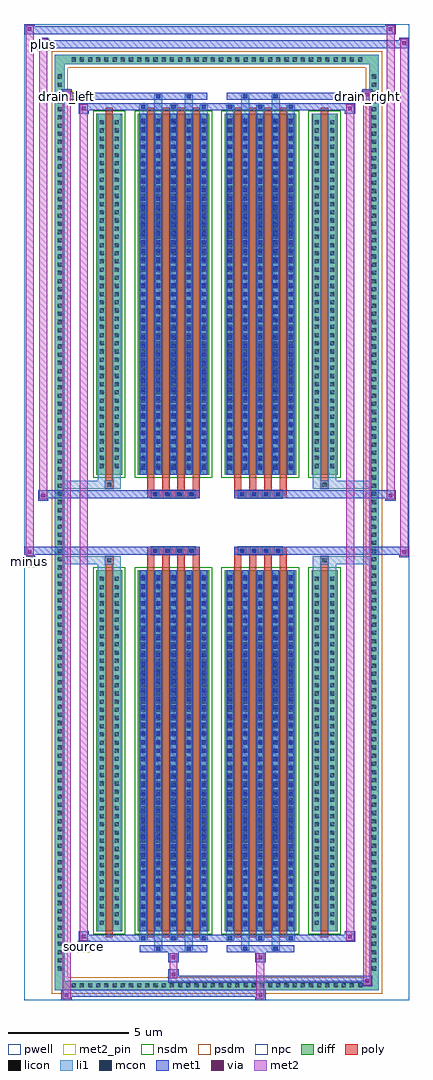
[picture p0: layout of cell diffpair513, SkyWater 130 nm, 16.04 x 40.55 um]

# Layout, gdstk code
import gdstk
lib = gdstk.Library(unit=1e-6, precision=5e-09)
def R(c, l, rs):  # rectangles x0, y0, x1, y1
    for r in rs: c.add(gdstk.rectangle(r[:2], r[2:], *l))
def A(c, l, x, y, w, h, nx, ny, dx, dy):  # array of equal rectangles
    R(c, l, [(x+i*dx, y+j*dy, x+i*dx+w, y+j*dy+h) for i in range(nx) for j in range(ny)])
def P(c, l, *ps):  # polygons
    for p in ps: c.add(gdstk.Polygon(p, *l))
pwell = (64, 44)
diff = (65, 20)
poly = (66, 20)
licon = (66, 44)
li1 = (67, 20)
mcon = (67, 44)
met1 = (68, 20)
via = (68, 44)
met2_pin = (69, 16)
met2 = (69, 20)
nsdm = (93, 44)
psdm = (94, 20)
npc = (95, 20)

diffpair513 = lib.new_cell('diffpair513')
R(diffpair513, pwell, [(-8,-19.84,8,20.71), (-5.32,-18.03,-0.01,-0.805), (0.01,-18.03,5.32,-0.805), (-5.32,0.805,-0.01,18.03), (0.01,0.805,5.32,18.03)])
A(diffpair513, diff, -6.155, -19.44, 0.41, 0.41, 36, 2, 0.34, 38.47)
A(diffpair513, diff, -6.73, -18.735, 0.41, 0.41, 1, 110, 0, 0.34)
A(diffpair513, diff, 6.32, -18.735, 0.41, 0.41, 1, 110, 0, 0.34)
R(diffpair513, diff, [(-6.155,-19.44,6.155,-19.03), (-6.73,-18.735,-6.32,18.735), (6.32,-18.735,6.73,18.735), (-5.01,-16.985,-3.93,-1.985), (-3.29,-16.985,-0.32,-1.985), (0.32,-16.985,3.29,-1.985), (3.93,-16.985,5.01,-1.985), (-5.01,1.985,-3.93,16.985), (-3.29,1.985,-0.32,16.985), (0.32,1.985,3.29,16.985), (3.93,1.985,5.01,16.985), (-6.155,19.03,6.155,19.44)])
P(diffpair513, diff, [(6.73,19.44),(-6.73,19.44),(-6.73,-19.03),(-6.32,-19.03),(-6.32,19.03),(6.32,19.03),(6.32,-19.03),(-6.32,-19.03),(-6.73,-19.03),(-6.73,-19.44),(6.73,-19.44)])
A(diffpair513, poly, -2.9, -17.235, 0.3, 15.5, 4, 2, 0.63, 18.97)
A(diffpair513, poly, 0.71, -17.235, 0.3, 15.5, 4, 2, 0.63, 18.97)
A(diffpair513, poly, -2.9, -1.735, 0.3, 0.4, 4, 2, 0.63, 3.07)
A(diffpair513, poly, 0.71, -1.735, 0.3, 0.4, 4, 2, 0.63, 3.07)
A(diffpair513, poly, -2.72, -1.335, 0.33, 0.33, 4, 2, 0.5, 2.34)
A(diffpair513, poly, 0.89, -1.335, 0.33, 0.33, 4, 2, 0.5, 2.34)
R(diffpair513, poly, [(-4.62,-17.235,-4.32,-1.735), (4.32,-17.235,4.62,-1.735), (-4.635,-1.735,-4.305,-1.405), (-4.635,-1.735,-4.305,-1.405), (4.305,-1.735,4.635,-1.405), (4.305,-1.735,4.635,-1.405), (-2.9,-1.335,-0.71,-1.005), (0.71,-1.335,2.9,-1.005), (-2.9,1.005,-0.71,1.335), (0.71,1.005,2.9,1.335), (-4.635,1.405,-4.305,1.735), (-4.635,1.405,-4.305,1.735), (4.305,1.405,4.635,1.735), (4.305,1.405,4.635,1.735), (-4.62,1.735,-4.32,17.235), (4.32,1.735,4.62,17.235)])
A(diffpair513, licon, -6.035, -19.32, 0.17, 0.17, 36, 2, 0.34, 38.47)
A(diffpair513, licon, -6.61, -18.615, 0.17, 0.17, 1, 110, 0, 0.34)
A(diffpair513, licon, 6.44, -18.615, 0.17, 0.17, 1, 110, 0, 0.34)
A(diffpair513, licon, -4.87, -16.71, 0.17, 0.17, 1, 43, 0, 0.34)
A(diffpair513, licon, -4.24, -16.71, 0.17, 0.17, 1, 43, 0, 0.34)
A(diffpair513, licon, -3.15, -16.71, 0.17, 0.17, 5, 43, 0.63, 0.34)
A(diffpair513, licon, 0.46, -16.71, 0.17, 0.17, 5, 43, 0.63, 0.34)
A(diffpair513, licon, 4.07, -16.71, 0.17, 0.17, 1, 43, 0, 0.34)
A(diffpair513, licon, 4.7, -16.71, 0.17, 0.17, 1, 43, 0, 0.34)
A(diffpair513, licon, -2.64, -1.255, 0.17, 0.17, 4, 2, 0.5, 2.34)
A(diffpair513, licon, 0.97, -1.255, 0.17, 0.17, 4, 2, 0.5, 2.34)
A(diffpair513, licon, -4.87, 2.26, 0.17, 0.17, 1, 43, 0, 0.34)
A(diffpair513, licon, -4.24, 2.26, 0.17, 0.17, 1, 43, 0, 0.34)
A(diffpair513, licon, -3.15, 2.26, 0.17, 0.17, 5, 43, 0.63, 0.34)
A(diffpair513, licon, 0.46, 2.26, 0.17, 0.17, 5, 43, 0.63, 0.34)
A(diffpair513, licon, 4.07, 2.26, 0.17, 0.17, 1, 43, 0, 0.34)
A(diffpair513, licon, 4.7, 2.26, 0.17, 0.17, 1, 43, 0, 0.34)
R(diffpair513, licon, [(-4.555,-1.655,-4.385,-1.485), (4.385,-1.655,4.555,-1.485), (-4.555,1.485,-4.385,1.655), (4.385,1.485,4.555,1.655)])
A(diffpair513, li1, -6.115, -19.4, 0.33, 0.33, 36, 2, 0.34, 38.47)
A(diffpair513, li1, -6.69, -18.695, 0.33, 0.33, 1, 110, 0, 0.34)
A(diffpair513, li1, 6.36, -18.695, 0.33, 0.33, 1, 110, 0, 0.34)
A(diffpair513, li1, -3.23, -17.36, 0.33, 0.375, 3, 2, 1.26, 34.345)
A(diffpair513, li1, -3.15, -17.36, 0.17, 0.17, 3, 2, 1.26, 34.55)
A(diffpair513, li1, 0.38, -17.36, 0.33, 0.375, 3, 2, 1.26, 34.345)
A(diffpair513, li1, 0.46, -17.36, 0.17, 0.17, 3, 2, 1.26, 34.55)
A(diffpair513, li1, -3.23, -16.985, 0.33, 15, 5, 2, 0.63, 18.97)
A(diffpair513, li1, 0.38, -16.985, 0.33, 15, 5, 2, 0.63, 18.97)
A(diffpair513, li1, -4.95, -16.79, 0.33, 0.33, 1, 43, 0, 0.34)
A(diffpair513, li1, -4.32, -16.79, 0.33, 0.33, 1, 43, 0, 0.34)
A(diffpair513, li1, -3.23, -16.79, 0.33, 0.33, 5, 43, 0.63, 0.34)
A(diffpair513, li1, 0.38, -16.79, 0.33, 0.33, 5, 43, 0.63, 0.34)
A(diffpair513, li1, 3.99, -16.79, 0.33, 0.33, 1, 43, 0, 0.34)
A(diffpair513, li1, 4.62, -16.79, 0.33, 0.33, 1, 43, 0, 0.34)
A(diffpair513, li1, -3.15, -16.77, 0.17, 0.17, 5, 41, 0.63, 0.36)
A(diffpair513, li1, -3.15, -16.77, 0.17, 14.57, 5, 2, 0.63, 18.97)
A(diffpair513, li1, 0.46, -16.77, 0.17, 0.17, 5, 41, 0.63, 0.36)
A(diffpair513, li1, 0.46, -16.77, 0.17, 14.57, 5, 2, 0.63, 18.97)
A(diffpair513, li1, -2.72, -1.335, 0.33, 0.33, 4, 2, 0.5, 2.34)
A(diffpair513, li1, 0.89, -1.335, 0.33, 0.33, 4, 2, 0.5, 2.34)
A(diffpair513, li1, -4.95, 2.18, 0.33, 0.33, 1, 43, 0, 0.34)
A(diffpair513, li1, -4.32, 2.18, 0.33, 0.33, 1, 43, 0, 0.34)
A(diffpair513, li1, -3.23, 2.18, 0.33, 0.33, 5, 43, 0.63, 0.34)
A(diffpair513, li1, 0.38, 2.18, 0.33, 0.33, 5, 43, 0.63, 0.34)
A(diffpair513, li1, 3.99, 2.18, 0.33, 0.33, 1, 43, 0, 0.34)
A(diffpair513, li1, 4.62, 2.18, 0.33, 0.33, 1, 43, 0, 0.34)
A(diffpair513, li1, -3.15, 2.2, 0.17, 0.17, 5, 41, 0.63, 0.36)
A(diffpair513, li1, 0.46, 2.2, 0.17, 0.17, 5, 41, 0.63, 0.36)
R(diffpair513, li1, [(-6.73,-19.44,-6.32,-19.03), (-6.73,-19.44,-6.32,-19.03), (-6.32,-19.44,6.32,-19.03), (6.32,-19.44,6.73,-19.03), (6.32,-19.44,6.73,-19.03), (-6.73,-19.03,-6.32,19.03), (6.32,-19.03,6.73,19.03), (-2.6,-17.79,-2.27,-16.985), (-2.52,-17.79,-2.35,-17.62), (-1.34,-17.79,-1.01,-16.985), (-1.26,-17.79,-1.09,-17.62), (1.01,-17.79,1.34,-16.985), (1.09,-17.79,1.26,-17.62), (2.27,-17.79,2.6,-16.985), (2.35,-17.79,2.52,-17.62), (-4.95,-16.985,-4.62,-1.985), (-4.32,-16.985,-3.99,-1.985), (3.99,-16.985,4.32,-1.985), (4.62,-16.985,4.95,-1.985), (-4.95,-1.985,-4.62,-1.405), (-4.32,-1.985,-3.99,-1.405), (3.99,-1.985,4.32,-1.405), (4.62,-1.985,4.95,-1.405), (-6.73,-1.735,-4.635,-1.405), (-4.95,-1.735,-4.635,-1.405), (-4.635,-1.735,-4.305,-1.405), (-4.305,-1.735,-3.99,-1.405), (3.99,-1.735,4.305,-1.405), (4.305,-1.735,4.635,-1.405), (4.305,-1.735,6.73,-1.405), (4.635,-1.735,4.95,-1.405), (-6.73,1.405,-4.635,1.735), (-4.95,1.405,-4.635,1.735), (-4.95,1.405,-4.62,1.985), (-4.635,1.405,-4.305,1.735), (-4.32,1.405,-3.99,1.985), (-4.305,1.405,-3.99,1.735), (3.99,1.405,4.305,1.735), (3.99,1.405,4.32,1.985), (4.305,1.405,4.635,1.735), (4.305,1.405,6.73,1.735), (4.62,1.405,4.95,1.985), (4.635,1.405,4.95,1.735), (-4.95,1.985,-4.62,16.985), (-4.32,1.985,-3.99,16.985), (3.99,1.985,4.32,16.985), (4.62,1.985,4.95,16.985), (-2.6,16.985,-2.27,17.79), (-1.34,16.985,-1.01,17.79), (1.01,16.985,1.34,17.79), (2.27,16.985,2.6,17.79), (-2.52,17.62,-2.35,17.79), (-1.26,17.62,-1.09,17.79), (1.09,17.62,1.26,17.79), (2.35,17.62,2.52,17.79), (-6.73,19.03,-6.32,19.44), (-6.73,19.03,-6.32,19.44), (-6.32,19.03,6.32,19.44), (6.32,19.03,6.73,19.44), (6.32,19.03,6.73,19.44)])
A(diffpair513, mcon, -3.15, -17.36, 0.17, 0.17, 3, 2, 1.26, 34.55)
A(diffpair513, mcon, 0.46, -17.36, 0.17, 0.17, 3, 2, 1.26, 34.55)
A(diffpair513, mcon, -3.15, -16.77, 0.17, 0.17, 5, 41, 0.63, 0.36)
A(diffpair513, mcon, 0.46, -16.77, 0.17, 0.17, 5, 41, 0.63, 0.36)
A(diffpair513, mcon, -2.64, -1.255, 0.17, 0.17, 4, 2, 0.5, 2.34)
A(diffpair513, mcon, 0.97, -1.255, 0.17, 0.17, 4, 2, 0.5, 2.34)
A(diffpair513, mcon, -3.15, 2.2, 0.17, 0.17, 5, 41, 0.63, 0.36)
A(diffpair513, mcon, 0.46, 2.2, 0.17, 0.17, 5, 41, 0.63, 0.36)
R(diffpair513, mcon, [(-2.52,-17.79,-2.35,-17.62), (-1.26,-17.79,-1.09,-17.62), (1.09,-17.79,1.26,-17.62), (2.35,-17.79,2.52,-17.62), (-2.52,17.62,-2.35,17.79), (-1.26,17.62,-1.09,17.79), (1.09,17.62,1.26,17.79), (2.35,17.62,2.52,17.79)])
A(diffpair513, met1, -3.21, -17.42, 0.29, 0.29, 3, 2, 1.26, 34.55)
A(diffpair513, met1, 0.4, -17.42, 0.29, 0.29, 3, 2, 1.26, 34.55)
A(diffpair513, met1, -3.21, -16.985, 0.29, 15, 5, 2, 0.63, 18.97)
A(diffpair513, met1, 0.4, -16.985, 0.29, 15, 5, 2, 0.63, 18.97)
A(diffpair513, met1, -3.21, -16.83, 0.29, 0.29, 5, 41, 0.63, 0.36)
A(diffpair513, met1, 0.4, -16.83, 0.29, 0.29, 5, 41, 0.63, 0.36)
A(diffpair513, met1, -2.7, -1.315, 0.29, 0.29, 4, 2, 0.5, 2.34)
A(diffpair513, met1, 0.91, -1.315, 0.29, 0.29, 4, 2, 0.5, 2.34)
A(diffpair513, met1, -3.21, 2.14, 0.29, 0.29, 5, 41, 0.63, 0.36)
A(diffpair513, met1, 0.4, 2.14, 0.29, 0.29, 5, 41, 0.63, 0.36)
R(diffpair513, met1, [(-6.46,-19.84,-6.03,-19.41), (1.59,-19.84,2.02,-19.41), (-6.46,-19.7,2.02,-19.41), (6.03,-19.27,6.46,-18.84), (-2.02,-19.13,6.46,-18.84), (-2.02,-18.99,-1.59,-18.56), (-2.02,-18.28,-1.59,-17.85), (1.59,-18.28,2.02,-17.85), (-3.21,-17.85,-0.4,-17.56), (-2.58,-17.85,-2.29,-17.56), (-1.32,-17.85,-1.03,-17.56), (0.4,-17.85,3.21,-17.56), (1.03,-17.85,1.32,-17.56), (2.29,-17.85,2.58,-17.56), (-5.75,-17.42,-5.32,-16.99), (-5.75,-17.42,-3.21,-17.13), (-3.21,-17.42,-0.4,-17.13), (-0.4,-17.42,0.4,-17.13), (0.4,-17.42,3.21,-17.13), (3.21,-17.42,5.75,-17.13), (5.32,-17.42,5.75,-16.99), (-8,-1.435,-7.57,-1.005), (7.57,-1.435,8,-1.005), (-8,-1.335,-0.71,-1.005), (-2.9,-1.335,-0.71,-1.005), (0.71,-1.335,2.9,-1.005), (0.71,-1.335,8,-1.005), (-7.43,0.905,-7,1.335), (7,0.905,7.43,1.335), (-7.43,1.005,-2.9,1.335), (-2.9,1.005,-0.71,1.335), (0.71,1.005,2.9,1.335), (2.9,1.005,7.43,1.335), (-5.75,16.99,-5.32,17.42), (5.32,16.99,5.75,17.42), (-5.75,17.13,-3.21,17.42), (-3.21,17.13,-0.4,17.42), (-0.4,17.13,0.4,17.42), (0.4,17.13,3.21,17.42), (3.21,17.13,5.75,17.42), (-6.46,17.56,-6.03,17.99), (-6.46,17.56,-3.21,17.85), (-3.21,17.56,-0.4,17.85), (-2.58,17.56,-2.29,17.85), (-1.32,17.56,-1.03,17.85), (0.4,17.56,3.21,17.85), (1.03,17.56,1.32,17.85), (2.29,17.56,2.58,17.85), (3.21,17.56,6.46,17.85), (6.03,17.56,6.46,17.99), (-7.43,19.71,-7,20.14), (-7.43,19.71,-5.32,20.04), (-5.32,19.71,5.32,20.04), (5.32,19.71,8,20.04), (7.57,19.71,8,20.14), (-8,20.28,-7.57,20.71), (-8,20.28,-5.32,20.61), (-5.32,20.28,5.32,20.61), (5.32,20.28,7.43,20.61), (7,20.28,7.43,20.71)])
R(diffpair513, via, [(-6.32,-19.7,-6.17,-19.55), (1.73,-19.7,1.88,-19.55), (6.17,-19.13,6.32,-18.98), (-1.88,-18.85,-1.73,-18.7), (-1.88,-18.14,-1.73,-17.99), (1.73,-18.14,1.88,-17.99), (-5.61,-17.28,-5.46,-17.13), (5.46,-17.28,5.61,-17.13), (-7.86,-1.295,-7.71,-1.145), (7.71,-1.295,7.86,-1.145), (-7.29,1.045,-7.14,1.195), (7.14,1.045,7.29,1.195), (-5.61,17.13,-5.46,17.28), (5.46,17.13,5.61,17.28), (-6.32,17.7,-6.17,17.85), (6.17,17.7,6.32,17.85), (-7.29,19.85,-7.14,20), (7.71,19.85,7.86,20), (-7.86,20.42,-7.71,20.57), (7.14,20.42,7.29,20.57)])
R(diffpair513, met2_pin, [(-5.785,-17.87,-5.285,-17.37), (-8.035,-1.885,-7.535,-1.385), (-6.495,17.44,-5.995,17.94), (5.995,17.44,6.495,17.94), (-7.465,19.59,-6.965,20.09)])
R(diffpair513, met2, [(-6.41,-19.79,-6.08,-19.46), (-6.41,-19.79,-6.08,17.94), (1.64,-19.79,1.97,-19.46), (1.64,-19.46,1.97,-18.23), (6.08,-19.22,6.41,-18.89), (6.08,-19.22,6.41,17.94), (-1.97,-18.94,-1.64,-18.61), (-1.97,-18.61,-1.64,-18.23), (-1.97,-18.23,-1.64,-17.9), (1.64,-18.23,1.97,-17.9), (-5.7,-17.37,-5.37,-17.04), (-5.7,-17.37,-5.37,17.37), (5.37,-17.37,5.7,-17.04), (5.37,-17.37,5.7,17.37), (-7.95,-1.385,-7.62,-1.055), (-7.95,-1.385,-7.62,20.66), (7.62,-1.385,7.95,-1.055), (7.62,-1.385,7.95,20.09), (-7.38,0.955,-7.05,1.285), (-7.38,0.955,-7.05,20.09), (7.05,0.955,7.38,1.285), (7.05,0.955,7.38,20.66), (-5.7,17.04,-5.37,17.37), (5.37,17.04,5.7,17.37), (-6.41,17.61,-6.08,17.94), (6.08,17.61,6.41,17.94), (-7.38,19.76,-7.05,20.09), (7.62,19.76,7.95,20.09), (-7.95,20.33,-7.62,20.66), (7.05,20.33,7.38,20.66)])
P(diffpair513, met2, [(7.95,-1.385),(7.95,-1.385),(7.95,-1.055),(7.95,-1.055)],
  [(7.95,19.76),(7.95,19.76),(7.95,20.09),(7.95,20.09)],
  [(-7.62,-1.385),(-7.62,-1.385),(-7.62,-1.055),(-7.62,-1.055)],
  [(-7.62,20.33),(-7.62,20.33),(-7.62,20.66),(-7.62,20.66)],
  [(7.38,0.955),(7.38,0.955),(7.38,1.285),(7.38,1.285)],
  [(7.38,20.33),(7.38,20.33),(7.38,20.66),(7.38,20.66)],
  [(-7.05,0.955),(-7.05,0.955),(-7.05,1.285),(-7.05,1.285)],
  [(-7.05,19.76),(-7.05,19.76),(-7.05,20.09),(-7.05,20.09)],
  [(-6.08,-19.79),(-6.08,-19.79),(-6.08,-19.46),(-6.08,-19.46)],
  [(-6.08,17.61),(-6.08,17.61),(-6.08,17.94),(-6.08,17.94)],
  [(6.41,-19.22),(6.41,-19.22),(6.41,-18.89),(6.41,-18.89)],
  [(6.41,17.61),(6.41,17.61),(6.41,17.94),(6.41,17.94)],
  [(-5.37,-17.37),(-5.37,-17.37),(-5.37,-17.04),(-5.37,-17.04)],
  [(-5.37,17.04),(-5.37,17.04),(-5.37,17.37),(-5.37,17.37)],
  [(5.7,-17.37),(5.7,-17.37),(5.7,-17.04),(5.7,-17.04)],
  [(5.7,17.04),(5.7,17.04),(5.7,17.37),(5.7,17.37)])
R(diffpair513, nsdm, [(-5.14,-17.115,-3.8,-1.855), (-3.42,-17.115,-0.19,-1.855), (0.19,-17.115,3.42,-1.855), (3.8,-17.115,5.14,-1.855), (-5.14,1.855,-3.8,17.115), (-3.42,1.855,-0.19,17.115), (0.19,1.855,3.42,17.115), (3.8,1.855,5.14,17.115)])
P(diffpair513, psdm, [(6.86,19.57),(-6.86,19.57),(-6.86,-18.9),(-6.19,-18.9),(-6.19,18.9),(6.19,18.9),(6.19,-18.9),(-6.19,-18.9),(-6.86,-18.9),(-6.86,-19.57),(6.86,-19.57)])
A(diffpair513, npc, -2.74, -1.355, 0.37, 0.37, 4, 2, 0.5, 2.34)
A(diffpair513, npc, 0.87, -1.355, 0.37, 0.37, 4, 2, 0.5, 2.34)
R(diffpair513, npc, [(-4.655,-1.755,-4.285,-1.385), (4.285,-1.755,4.655,-1.385), (-2.74,-1.355,-1.87,-0.985), (-2.74,-1.355,-1.87,-0.985), (-2.24,-1.355,-1.37,-0.985), (-2.24,-1.355,-1.37,-0.985), (-1.74,-1.355,-0.87,-0.985), (-1.74,-1.355,-0.87,-0.985), (0.87,-1.355,1.74,-0.985), (0.87,-1.355,1.74,-0.985), (1.37,-1.355,2.24,-0.985), (1.37,-1.355,2.24,-0.985), (1.87,-1.355,2.74,-0.985), (1.87,-1.355,2.74,-0.985), (-2.74,0.985,-1.87,1.355), (-2.74,0.985,-1.87,1.355), (-2.24,0.985,-1.37,1.355), (-2.24,0.985,-1.37,1.355), (-1.74,0.985,-0.87,1.355), (-1.74,0.985,-0.87,1.355), (0.87,0.985,1.74,1.355), (0.87,0.985,1.74,1.355), (1.37,0.985,2.24,1.355), (1.37,0.985,2.24,1.355), (1.87,0.985,2.74,1.355), (1.87,0.985,2.74,1.355), (-4.655,1.385,-4.285,1.755), (4.285,1.385,4.655,1.755)])
diffpair513.add(gdstk.Label('minus', (-7.785,-1.635), layer=69, texttype=5))
diffpair513.add(gdstk.Label('drain_right', (6.245,17.69), layer=69, texttype=5))
diffpair513.add(gdstk.Label('drain_left', (-6.245,17.69), layer=69, texttype=5))
diffpair513.add(gdstk.Label('source', (-5.535,-17.62), layer=69, texttype=5))
diffpair513.add(gdstk.Label('plus', (-7.215,19.84), layer=69, texttype=5))

lib.write_gds('diffpair513.gds')
